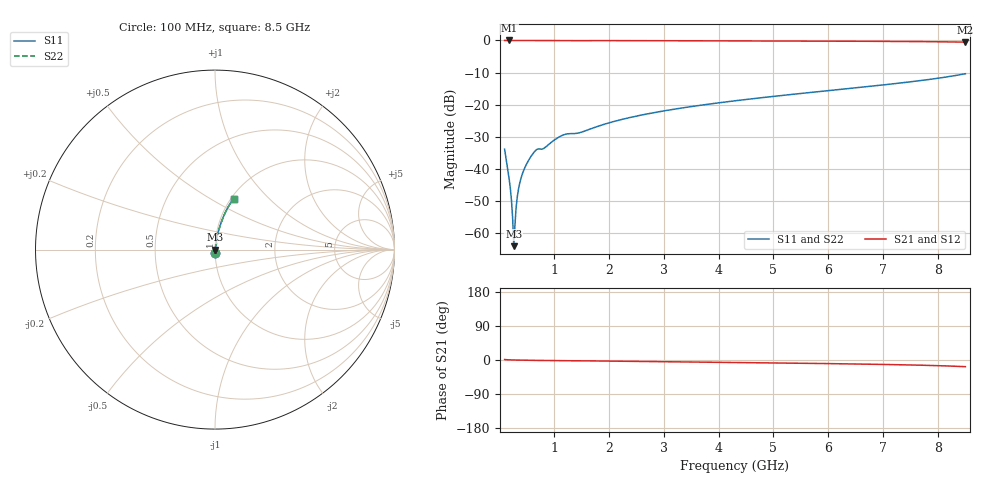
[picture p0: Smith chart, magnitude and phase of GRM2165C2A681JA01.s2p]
!Murata Part Number: GRM2165C2A681JA01
!These Parameters are Measured in Series Mode Connection
!Data Generated on Mar 30, 2021
!  o--ll--o
!Port1  Port2
!  o------o
!Operation Temp=25[degC], DC Bias Voltage=0[V]
!Freq. Start=100[MHz] Stop=9[GHz] 401[Steps]
# Hz S RI R 50
!Freq.(Hz) S11(Real) S11(Imag) S21(Real) S21(Imag) S12(Real) S12(Imag) S22(Real) S22(Imag)
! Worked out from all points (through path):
!   401 points, 100 MHz to 8.5 GHz, reference 50 ohm
!   highest |S21| = 0.00 dB at 184 MHz (marker M1); lowest = -0.5 dB at 8.5 GHz (marker M2)
!   group delay of S21, straight-line fit = 5.11 ps
!   lowest |S11| = -64.1 dB at 268 MHz (marker M3), VSWR 1.00, Z = 50.1 - j0.0132 ohm
!   |S11| at or under -10 dB: start of sweep to end of sweep
!   |S22| runs from -64.1 to -10.4 dB; largest |S21 - S12| = 0
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1e8  0.000879 -0.0202  0.9991 0.0202  0.9991 0.0202  0.000879 -0.0202
1.42e8  0.000635 -0.0119  0.9994 0.0119  0.9994 0.0119  0.000635 -0.0119
1.84e8  0.000568 -0.00683  0.9994 0.00683  0.9994 0.00683  0.000568 -0.00683
2.05e8  0.000564 -0.00485  0.9994 0.00485  0.9994 0.00485  0.000564 -0.00485
2.26e8  0.00057 -0.00312  0.9994 0.00312  0.9994 0.00312  0.00057 -0.00312
2.47e8  0.000586 -0.00156  0.9994 0.00156  0.9994 0.00156  0.000586 -0.00156
2.68e8  0.00061 -0.000132  0.9994 0.000132  0.9994 0.000132  0.00061 -0.000132
2.89e8  0.00064 0.00119  0.9994 -0.00119  0.9994 -0.00119  0.00064 0.00119
3.1e8  0.000677 0.00243  0.9993 -0.00243  0.9993 -0.00243  0.000677 0.00243
3.31e8  0.000721 0.0036  0.9993 -0.0036  0.9993 -0.0036  0.000721 0.0036
3.52e8  0.00077 0.00472  0.9992 -0.00472  0.9992 -0.00472  0.00077 0.00472
4.15e8  0.000964 0.00785  0.999 -0.00785  0.999 -0.00785  0.000964 0.00785
4.99e8  0.00138 0.0117  0.9986 -0.0117  0.9986 -0.0117  0.00138 0.0117
6.25e8  0.00293 0.0174  0.9971 -0.0174  0.9971 -0.0174  0.00293 0.0174
1.15e9  0.0073 0.0324  0.9927 -0.0324  0.9927 -0.0324  0.0073 0.0324
1.507e9  0.00801 0.0365  0.992 -0.0365  0.992 -0.0365  0.00801 0.0365
2.137e9  0.00806 0.0554  0.9919 -0.0554  0.9919 -0.0554  0.00806 0.0554
2.914e9  0.0124 0.0765  0.9876 -0.0765  0.9876 -0.0765  0.0124 0.0765
4.3e9  0.0221 0.1126  0.9779 -0.1126  0.9779 -0.1126  0.0221 0.1126
5.707e9  0.0349 0.1518  0.9651 -0.1518  0.9651 -0.1518  0.0349 0.1518
7.114e9  0.0547 0.2005  0.9453 -0.2005  0.9453 -0.2005  0.0547 0.2005
8.5e9  0.1033 0.2846  0.8967 -0.2846  0.8967 -0.2846  0.1033 0.2846
